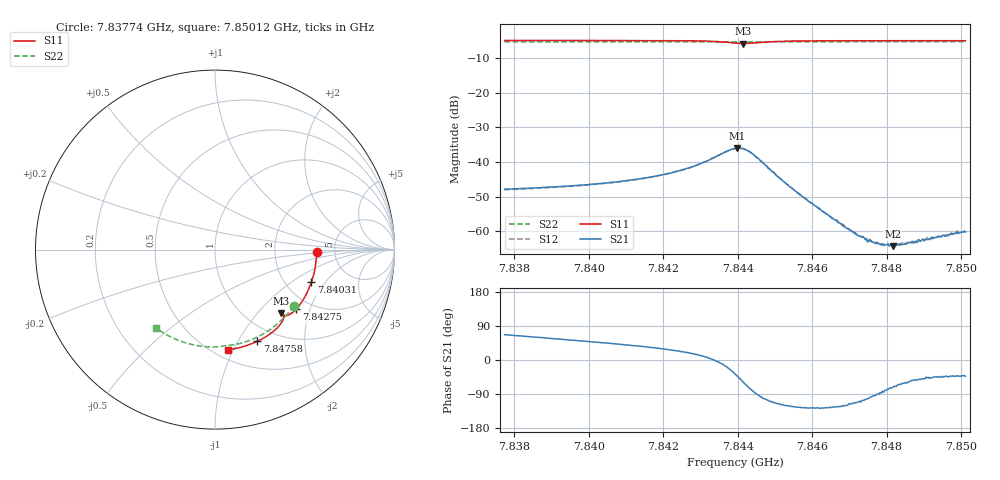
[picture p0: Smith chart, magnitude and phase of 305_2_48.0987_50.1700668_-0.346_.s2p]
#  HZ  S  RI  R  50.00
! Rohde & Schwarz Vector Network Analyzer
! Rohde-Schwarz,ZNB20-2Port,1311601062101988,3.16
! Created: UTC 12/23/2023, 4:05:11 AM
! freq[Hz]  re:S11  im:S11  re:S21  im:S21  re:S12  im:S12  re:S22  im:S22
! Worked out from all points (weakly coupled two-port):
!   401 points, 7.83774 GHz to 7.85012 GHz, reference 50 ohm
!   highest |S21| = -35.94 dB at 7.84399 GHz (marker M1); lowest = -64.3 dB at 7.84817 GHz (marker M2)
!   lowest |S11| = -5.8 dB at 7.84414 GHz (marker M3), VSWR 3.10, Z = 70.7 - j67.8 ohm
!   |S11| at or under -10 dB: nowhere
!   |S22| runs from -5.4 to -5.3 dB; largest |S21 - S12| = 0.00029
!   S11 on the Smith chart (normalised r, x): 7.83774 GHz: 3.61, -0.14; 7.84031 GHz: 2.74, -1.47; 7.84275 GHz: 1.68, -1.62; 7.84758 GHz: 0.81, -1.21; 7.85012 GHz: 0.58, -0.95
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7.837738e9  0.5664 -0.0134  0.00158 0.00369  0.00161 0.00364  0.4395 -0.3133
7.839812e9  0.5468 -0.1501  0.00294 0.00354  0.00293 0.00352  0.3408 -0.4196
7.840307e9  0.5368 -0.182  0.00338 0.00351  0.00332 0.00349  0.3134 -0.4409
7.841885e9  0.4911 -0.2803  0.00549 0.00329  0.00547 0.00325  0.2175 -0.4958
7.842751e9  0.4531 -0.3313  0.00801 0.00253  0.00797 0.00257  0.1603 -0.5173
7.843494e9  0.4042 -0.3659  0.0124 -0.00124  0.0124 -0.00132  0.1095 -0.5293
7.843927e9  0.3725 -0.3623  0.0125 -0.00933  0.0125 -0.0093  0.0804 -0.5329
7.843989e9  0.3703 -0.3597  0.0118 -0.0107  0.0116 -0.0107  0.0764 -0.5333
7.844144e9  0.3702 -0.3536  0.00826 -0.0132  0.00828 -0.0131  0.067 -0.5346
7.844422e9  0.3799 -0.357  0.00147 -0.0127  0.00156 -0.0127  0.0493 -0.5377
7.84532e9  0.3636 -0.4179  -0.00241 -0.00408  -0.00242 -0.00413  -0.0134 -0.5426
7.846e9  0.3284 -0.453  -0.00151 -0.00201  -0.00149 -0.00203  -0.0617 -0.5402
7.846867e9  0.2791 -0.4878  -0.000595 -0.00099  -0.000612 -0.00103  -0.1217 -0.5304
7.847238e9  0.257 -0.5002  -0.000306 -0.000804  -0.000312 -0.000819  -0.1472 -0.5242
7.847578e9  0.2363 -0.5108  -9.29e-05 -0.000716  -0.000123 -0.000723  -0.1701 -0.5174
7.847826e9  0.2212 -0.5175  4.71e-05 -0.000655  5.98e-05 -0.000657  -0.1865 -0.5119
7.848074e9  0.2057 -0.5239  0.000156 -0.000592  0.000163 -0.000585  -0.2029 -0.5059
7.848166e9  0.1999 -0.5262  0.000187 -0.000577  0.000169 -0.000585  -0.2088 -0.5034
7.848476e9  0.1804 -0.5332  0.000312 -0.000564  0.000299 -0.000598  -0.2288 -0.4948
7.848662e9  0.1685 -0.537  0.000405 -0.000562  0.000359 -0.000579  -0.2407 -0.4892
7.849033e9  0.1448 -0.544  0.000492 -0.000572  0.000508 -0.000558  -0.2638 -0.4776
7.850116e9  0.0738 -0.5576  0.000709 -0.000661  0.000747 -0.00063  -0.3278 -0.4367
